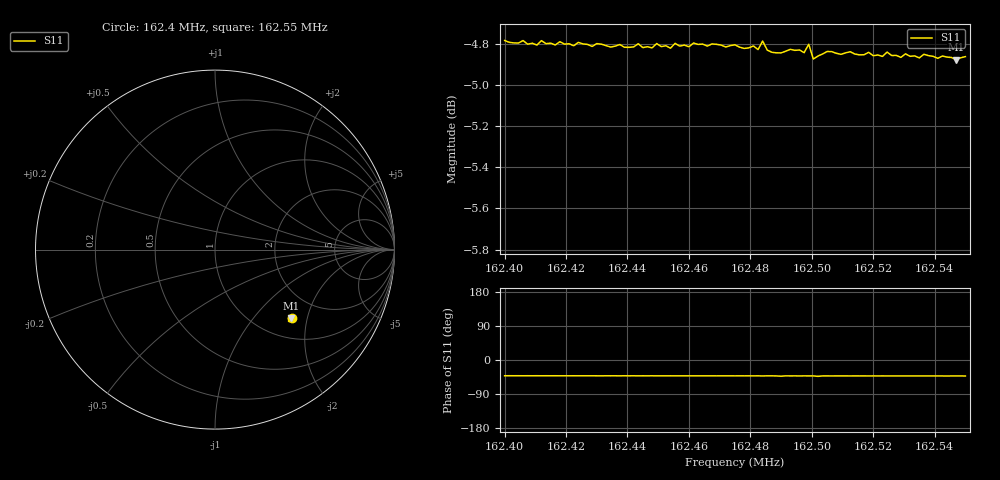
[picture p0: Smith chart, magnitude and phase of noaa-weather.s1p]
! Calibrated averaged scanner-service zoom
# Hz S RI R 50
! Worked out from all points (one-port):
!   101 points, 162.4 MHz to 162.55 MHz, reference 50 ohm
!   lowest |S11| = -4.9 dB at 162.547 MHz (marker M1), VSWR 3.66, Z = 70.4 - j79.8 ohm
!   |S11| at or under -10 dB: nowhere
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1.624e8  0.4313 -0.3826
1.624105e8  0.4307 -0.3811
1.62412e8  0.431 -0.3829
1.624195e8  0.4301 -0.3822
1.624375e8  0.4292 -0.383
1.62448e8  0.4289 -0.3817
1.624495e8  0.4292 -0.3834
1.62454e8  0.4286 -0.3818
1.62457e8  0.4286 -0.3829
1.62475e8  0.4284 -0.3837
1.624825e8  0.4276 -0.3824
1.62484e8  0.4279 -0.3861
1.624855e8  0.4275 -0.3822
1.62487e8  0.4271 -0.3816
1.624885e8  0.4253 -0.3834
1.6249e8  0.4204 -0.3887
1.624915e8  0.4271 -0.3821
1.624945e8  0.4268 -0.3828
1.62496e8  0.4256 -0.3843
1.624975e8  0.4263 -0.3823
1.62499e8  0.4277 -0.3848
1.625005e8  0.4243 -0.3815
1.62502e8  0.4168 -0.391
1.625035e8  0.4256 -0.3825
1.625125e8  0.4257 -0.3835
1.62532e8  0.4242 -0.3829
1.62547e8  0.423 -0.3827
1.6255e8  0.4234 -0.3836
